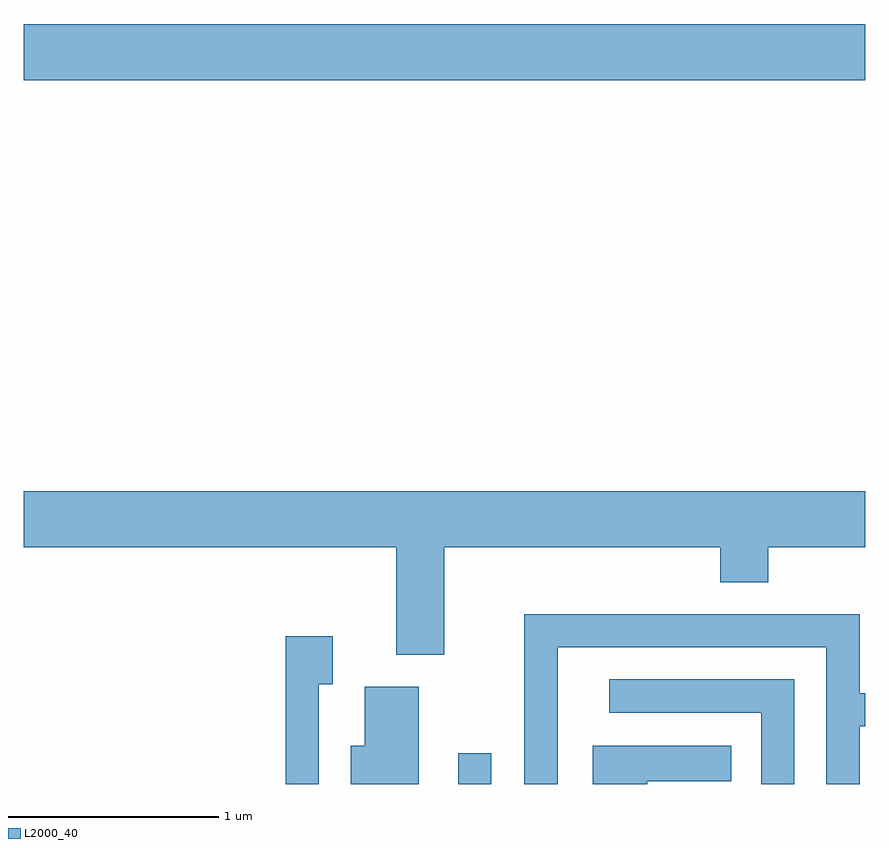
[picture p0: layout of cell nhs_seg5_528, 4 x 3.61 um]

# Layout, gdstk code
import gdstk
lib = gdstk.Library(unit=1e-6, precision=1e-09)
def R(c, l, rs):  # rectangles x0, y0, x1, y1
    for r in rs: c.add(gdstk.rectangle(r[:2], r[2:], *l))
def P(c, l, *ps):  # polygons
    for p in ps: c.add(gdstk.Polygon(p, *l))
L2000_40 = (2000, 40)

nhs_seg5_528 = lib.new_cell('nhs_seg5_528')
R(nhs_seg5_528, L2000_40, [(201.676,1500.072,201.834,1500.218), (199.611,1503.416,203.611,1503.684)])
P(nhs_seg5_528, L2000_40, [(201.609,1501.196),(202.921,1501.196),(202.921,1501.031),(203.149,1501.031),(203.149,1501.196),(203.611,1501.196),(203.611,1501.464),(199.611,1501.464),(199.611,1501.196),(201.381,1501.196),(201.381,1500.686),(201.609,1500.686)],
  [(202.149,1500.721),(203.426,1500.721),(203.426,1500.072),(203.584,1500.072),(203.584,1500.346),(203.611,1500.346),(203.611,1500.504),(203.584,1500.504),(203.584,1500.879),(201.991,1500.879),(201.991,1500.072),(202.149,1500.072)],
  [(201.014,1500.546),(201.079,1500.546),(201.079,1500.774),(200.856,1500.774),(200.856,1500.072),(201.014,1500.072)],
  [(203.274,1500.569),(202.393,1500.569),(202.393,1500.411),(203.116,1500.411),(203.116,1500.072),(203.274,1500.072)],
  [(201.489,1500.534),(201.231,1500.534),(201.231,1500.254),(201.166,1500.254),(201.166,1500.072),(201.489,1500.072)],
  [(202.574,1500.086),(202.973,1500.086),(202.973,1500.254),(202.316,1500.254),(202.316,1500.072),(202.574,1500.072)])

lib.write_gds('nhs_seg5_528.gds')
